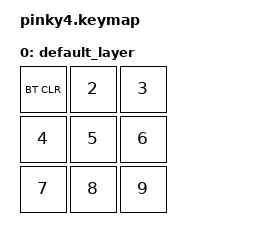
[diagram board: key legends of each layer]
/*
 * Copyright (c) 2020 The ZMK Contributors
 *
 * SPDX-License-Identifier: MIT
 */

 #include <behaviors.dtsi>
 #include <dt-bindings/zmk/keys.h>
 #include <dt-bindings/zmk/bt.h>
 #include <dt-bindings/zmk/rgb.h>
 #include <dt-bindings/zmk/ext_power.h>
 #include <dt-bindings/zmk/outputs.h>

 #define DEFAULT 0
 #define LOWER  1
 #define RAISE  2
 #define ADJUST 3

/* NOTE: At the time of the creation of this keymap, there are no specified codes for 'eisuu' and 'kana' input in ZMK.
However, 'LANG1' and 'LANG2' are fully-functioning candidates for 'kana' and 'eisuu' input respectively.
As such, those are in use within the default layer at this time.*/

/ {
       keymap {
              compatible = "zmk,keymap";

              default_layer {
 // ---------------------------------------------------------------------------------------------------------------------------------
 // | GRAVE  |   1    |   2    |   3    |   4    |   5    |                                      |   6    |   7    |   8    |   9    |   0    |  DEL   |
 // |  TAB   |   Q    |   W    |   E    |   R    |   T    |                                      |   Y    |   U    |   I    |   O    |   P    |  BSPC  |
 // |  CTRL  |   A    |   S    |   D    |   F    |   G    |                                      |   H    |   J    |   K    |   L    |   ;    |   '    |
 // |  SHIFT |   Z    |   X    |   C    |   V    |   B    |  LBKT  |                    |  RBKT  |   N    |   M    |   ,    |   .    |   /    |  RET   |
 // | ADJUST |  ESC   |  ALT   |  LGUI  | EISUU  | LOWER  | SPACE  |                    |  SPACE | RAISE  |  KANA  |  LEFT  |  DOWN  |  UP    |  RIGHT |
                     bindings = <
       &bt BT_CLR  &kp N2  &kp N3
       &kp N4  &kp N5  &kp N6
       &kp N7  &kp N8  &kp N9
                     >;
              };
       };
};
